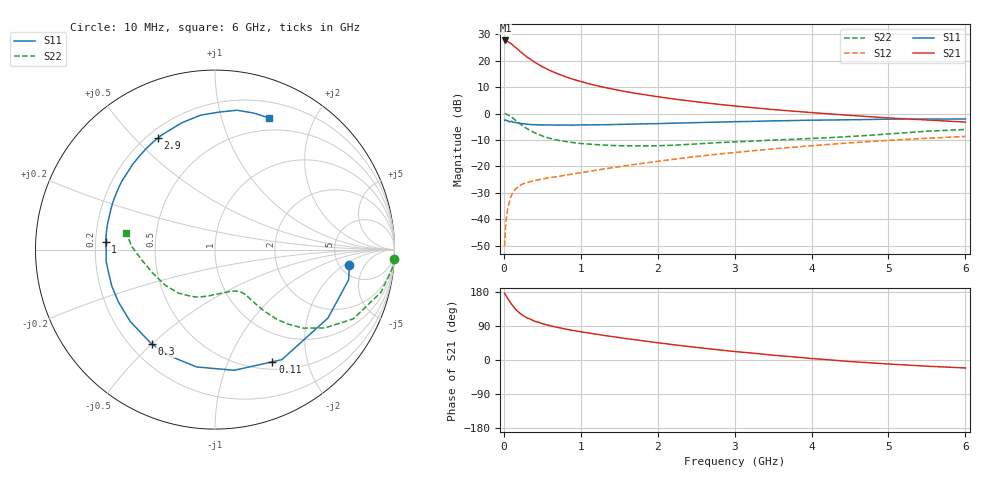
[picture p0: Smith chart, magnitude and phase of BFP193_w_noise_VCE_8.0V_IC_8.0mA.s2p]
! (c) 2017  Infineon Technologies AG, Munich
! Infineon Technologies  Discrete & RF Semiconductors
! BFP193
! VCE =  8.0 V,  IC =  8.0 mA
! Common Emitter S-Parameters:  Jan 2017
# GHz  S  MA  R  50
!  f  S11  S21  S12  S22
! GHz  MAG  ANG  MAG  ANG  MAG  ANG  MAG  ANG
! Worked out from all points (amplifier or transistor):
!   77 points, 10 MHz to 6 GHz, reference 50 ohm
!   highest |S21| = 27.7 dB at 20 MHz (marker M1)
!   |S21| within 3 dB of that: start of sweep to 166.6 MHz
!   unconditionally stable (mu >= 1): 1.242 GHz to 2.577 GHz
!   at 130 MHz: K = 0.20, MSG = 27.5 dB, |S12| = -29.4 dB
!   at 2.2 GHz: K = 1.04, MAG = 10.3 dB, |S12| = -17.3 dB
!   at 6 GHz: K = 0.85, MSG = 2.7 dB, |S12| = -8.6 dB
!   lowest NFmin = 0.85 dB at 450 MHz
!   S11 on the Smith chart (normalised r, x): 10 MHz: 6.13, -2.42; 110 MHz: 0.59, -1.46; 300 MHz: 0.28, -0.50; 1 GHz: 0.24, +0.03; 2.9 GHz: 0.24, +0.59; 6 GHz: 0.36, +1.43
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0.01  0.7534 -6.5  24.18 176.2  0.0031 88.1  1 -2.9
0.02  0.7635 -12.7  24.28 172.8  0.0065 82.6  0.9934 -6.1
0.05  0.7358 -31.2  23.21 162.1  0.0157 76.0  0.9544 -14.5
0.1  0.7175 -58.7  20.89 146.8  0.0287 64.1  0.8616 -26.6
0.11  0.702 -62.9  20.25 144.6  0.0303 61.8  0.8382 -28.2
0.15  0.681 -80.9  18.05 134.3  0.0373 54.9  0.7519 -35.5
0.2  0.6618 -98.9  15.6 124.8  0.0426 49.4  0.6593 -41.6
0.25  0.644 -113.0  13.53 117.0  0.047 44.8  0.5807 -45.6
0.3  0.6334 -123.9  11.84 111.4  0.0497 42.7  0.5192 -48.4
0.4  0.6194 -139.7  9.415 102.4  0.0542 40.0  0.4334 -51.5
0.5  0.6121 -151.7  7.735 95.9  0.0579 40.1  0.3779 -53.2
0.6  0.6098 -160.6  6.567 90.5  0.0616 40.1  0.3404 -54.5
0.7  0.6067 -167.7  5.68 86.0  0.0643 42.2  0.3145 -55.2
1  0.611 175.8  4.054 74.5  0.0759 45.5  0.272 -59.3
1.1  0.6127 171.3  3.702 71.4  0.0805 46.3  0.2655 -61.0
1.5  0.626 156.2  2.749 59.3  0.0992 48.9  0.2471 -70.4
2.1  0.6532 137.0  1.995 43.1  0.1309 49.7  0.2495 -89.1
2.9  0.698 117.1  1.446 24.5  0.1778 46.3  0.2874 -114.0
3.1  0.7079 112.7  1.354 20.6  0.1898 44.8  0.2959 -119.7
4.1  0.7546 94.6  1.022 2.4  0.2532 36.4  0.3441 -147.2
5.1  0.7863 79.6  0.814 -11.8  0.3178 25.5  0.4222 -174.4
6  0.7926 67.7  0.692 -21.1  0.3695 15.1  0.5023 169.5
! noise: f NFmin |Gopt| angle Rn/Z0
0.45  0.85  0.21  129  0.09
0.9  0.97  0.36  162  0.07
1.9  1.79  0.58  -148  0.12
2.4  2.19  0.64  -129  0.31
